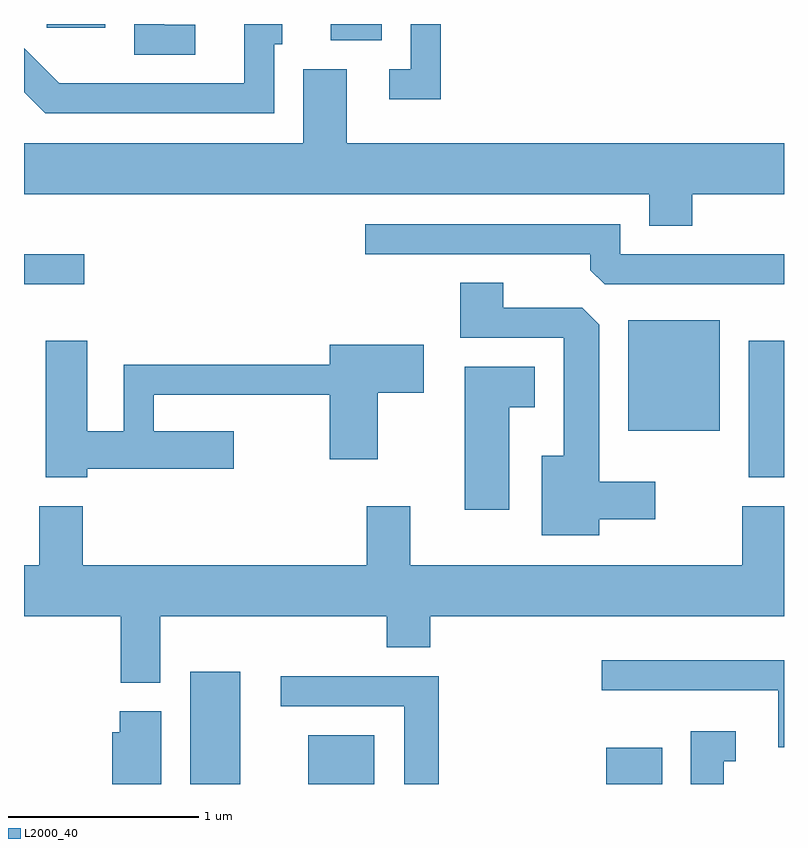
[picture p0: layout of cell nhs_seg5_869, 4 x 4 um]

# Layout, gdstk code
import gdstk
lib = gdstk.Library(unit=1e-6, precision=1e-09)
def R(c, l, rs):  # rectangles x0, y0, x1, y1
    for r in rs: c.add(gdstk.rectangle(r[:2], r[2:], *l))
def P(c, l, *ps):  # polygons
    for p in ps: c.add(gdstk.Polygon(p, *l))
L2000_40 = (2000, 40)

nhs_seg5_869 = lib.new_cell('nhs_seg5_869')
R(nhs_seg5_869, L2000_40, [(210.486,1518.072,210.749,1518.664), (211.106,1518.072,211.454,1518.329), (212.676,1518.072,212.969,1518.264), (213.426,1519.686,213.611,1520.404), (212.791,1519.931,213.274,1520.514), (209.611,1520.701,209.928,1520.859), (211.226,1521.986,211.494,1522.072), (209.731,1522.051,210.039,1522.072)])
P(nhs_seg5_869, L2000_40, [(210.929,1521.966),(210.969,1521.966),(210.969,1522.072),(210.771,1522.072),(210.771,1521.759),(209.797,1521.759),(209.611,1521.945),(209.611,1521.714),(209.724,1521.601),(210.929,1521.601)],
  [(211.804,1522.072),(211.646,1522.072),(211.646,1521.834),(211.533,1521.834),(211.533,1521.676),(211.804,1521.676)],
  [(210.513,1522.069),(210.349,1522.069),(210.349,1522.072),(210.191,1522.072),(210.191,1521.911),(210.513,1521.911)],
  [(213.129,1521.176),(213.611,1521.176),(213.611,1521.444),(211.309,1521.444),(211.309,1521.834),(211.081,1521.834),(211.081,1521.444),(209.611,1521.444),(209.611,1521.176),(212.901,1521.176),(212.901,1521.011),(213.129,1521.011)],
  [(213.611,1520.859),(212.749,1520.859),(212.749,1521.019),(211.408,1521.019),(211.408,1520.861),(212.591,1520.861),(212.591,1520.777),(212.667,1520.701),(213.611,1520.701)],
  [(212.639,1519.466),(212.934,1519.466),(212.934,1519.664),(212.639,1519.664),(212.639,1520.489),(212.549,1520.579),(212.134,1520.579),(212.134,1520.709),(211.906,1520.709),(211.906,1520.421),(212.451,1520.421),(212.451,1519.799),(212.336,1519.799),(212.336,1519.381),(212.639,1519.381)],
  [(209.944,1519.731),(210.714,1519.731),(210.714,1519.929),(210.294,1519.929),(210.294,1520.121),(211.221,1520.121),(211.221,1519.781),(211.474,1519.781),(211.474,1520.131),(211.714,1520.131),(211.714,1520.384),(211.221,1520.384),(211.221,1520.279),(210.136,1520.279),(210.136,1519.929),(209.944,1519.929),(209.944,1520.404),(209.726,1520.404),(209.726,1519.686),(209.944,1519.686)],
  [(212.164,1520.056),(212.299,1520.056),(212.299,1520.269),(211.931,1520.269),(211.931,1519.516),(212.164,1519.516)],
  [(210.329,1518.956),(211.521,1518.956),(211.521,1518.791),(211.749,1518.791),(211.749,1518.956),(213.611,1518.956),(213.611,1519.534),(213.391,1519.534),(213.391,1519.224),(211.644,1519.224),(211.644,1519.534),(211.416,1519.534),(211.416,1519.224),(209.919,1519.224),(209.919,1519.534),(209.691,1519.534),(209.691,1519.224),(209.611,1519.224),(209.611,1518.956),(210.121,1518.956),(210.121,1518.606),(210.329,1518.606)],
  [(213.611,1518.724),(212.653,1518.724),(212.653,1518.566),(213.581,1518.566),(213.581,1518.266),(213.611,1518.266)],
  [(211.794,1518.639),(210.963,1518.639),(210.963,1518.481),(211.611,1518.481),(211.611,1518.072),(211.794,1518.072)],
  [(210.334,1518.454),(210.116,1518.454),(210.116,1518.344),(210.076,1518.344),(210.076,1518.072),(210.334,1518.072)],
  [(213.294,1518.191),(213.358,1518.191),(213.358,1518.349),(213.121,1518.349),(213.121,1518.072),(213.294,1518.072)])

lib.write_gds('nhs_seg5_869.gds')
